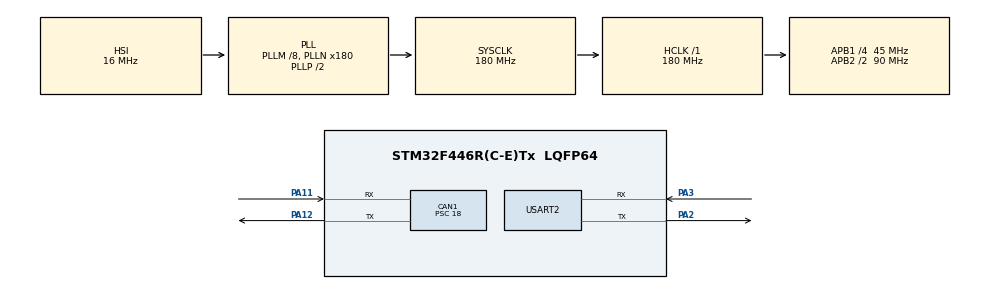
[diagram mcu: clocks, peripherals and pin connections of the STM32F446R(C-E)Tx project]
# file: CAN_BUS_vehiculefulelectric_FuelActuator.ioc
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CAN1.BS1=CAN_BS1_2TQ
CAN1.BS2=CAN_BS2_2TQ
CAN1.CalculateBaudRate=500000
CAN1.CalculateTimeBit=2000
CAN1.CalculateTimeQuantum=400.0
CAN1.Prescaler=18
Mcu.Family=STM32F4
Mcu.Name=STM32F446R(C-E)Tx
Mcu.Package=LQFP64
NVIC.PriorityGroup=NVIC_PRIORITYGROUP_0
PA11.Mode=CAN_Activate
PA11.Signal=CAN1_RX
PA12.Mode=CAN_Activate
PA12.Signal=CAN1_TX
PA13.Mode=Serial_Wire
PA13.Signal=SYS_JTMS-SWDIO
PA14.Mode=Serial_Wire
PA14.Signal=SYS_JTCK-SWCLK
PA2.Mode=Asynchronous
PA2.Signal=USART2_TX
PA3.Mode=Asynchronous
PA3.Signal=USART2_RX
PH0-OSC_IN.Mode=HSE-External-Oscillator
PH0-OSC_IN.Signal=RCC_OSC_IN
PH1-OSC_OUT.Mode=HSE-External-Oscillator
PH1-OSC_OUT.Signal=RCC_OSC_OUT
ProjectManager.HeapSize=0x200
ProjectManager.StackSize=0x400
ProjectManager.TargetToolchain=STM32CubeIDE
RCC.48MHZClocksFreq_Value=84000000
RCC.AHBFreq_Value=180000000
RCC.APB1CLKDivider=RCC_HCLK_DIV4
RCC.APB1Freq_Value=45000000
RCC.APB1TimFreq_Value=90000000
RCC.APB2CLKDivider=RCC_HCLK_DIV2
RCC.APB2Freq_Value=90000000
RCC.APB2TimFreq_Value=180000000
RCC.CortexFreq_Value=180000000
RCC.FLatency-AdvancedSettings=FLASH_LATENCY_5
RCC.HCLKFreq_Value=180000000
RCC.HSE_VALUE=8000000
RCC.HSI_VALUE=16000000
RCC.PLLM=8
RCC.PLLN=180
RCC.SYSCLKFreq_VALUE=180000000
RCC.SYSCLKSource=RCC_SYSCLKSOURCE_PLLCLK
RCC.USBFreq_Value=180000000
RCC.VCOOutputFreq_Value=360000000
USART2.VirtualMode=VM_ASYNC
board=NUCLEO-F446RE

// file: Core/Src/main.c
/* USER CODE BEGIN Header */
/**
  ******************************************************************************
  * @file           : main.c
  * @brief          : Main program body
  ******************************************************************************
  * @attention
  *
  * Copyright (c) 2025 STMicroelectronics.
  * All rights reserved.
  *
  * This software is licensed under terms that can be found in the LICENSE file
  * in the root directory of this software component.
  * If no LICENSE file comes with this software, it is provided AS-IS.
  *
  ******************************************************************************
  */
/* USER CODE END Header */
#include "main.h"
#include <stdio.h>

/* USER CODE BEGIN Includes */

#include "vehiculefulelectric.h"
#include "agrisensorcan.h"
#include "test_FuelActuator_EncodeSignals.h"

#include "session_control.h"
#include "ecu_reset.h"

/* USER CODE END Includes */

CAN_HandleTypeDef hcan1;

UART_HandleTypeDef huart2;

uint8_t soilMoisture = 55;
uint8_t fuelLevel = 70;
float decodedLat = 52.5150;
float decodedLon = 13.4060;
uint8_t diagFlags;

void SystemClock_Config(void);
static void MX_GPIO_Init(void);
static void MX_USART2_UART_Init(void);
static void MX_CAN1_Init(void);
/* USER CODE BEGIN PFP */
/*extern void test_FuelActuator_EncodeSignals(FuelActuatorMessage* msg, const FuelActuatorData* data);*/

/* USER CODE END PFP */

int main(void)
{

  /* MCU Configuration--------------------------------------------------------*/

  /* Reset of all peripherals, Initializes the Flash interface and the Systick. */
  HAL_Init();

  /* Configure the system clock */
  SystemClock_Config();

  /* Initialize all configured peripherals */
  MX_GPIO_Init();
  MX_USART2_UART_Init();
  MX_CAN1_Init();
  /* USER CODE BEGIN 2 */

  HAL_CAN_Start(&hcan1);
  HAL_CAN_ActivateNotification(&hcan1, CAN_IT_RX_FIFO0_MSG_PENDING);

  FuelActuator_CAN_Init(&hcan1);

  float latitude = 52.515;
  DiagnosticTelemetry diag = {0};

  // Here’s the usage example:
  FuelActuatorData actuatorData = {
      .vehicleSpeed = 120,
      .timestampLSB = 0x7F,
      .speedQuality = QUALITY_MEASURED,
      .engineRPM = 3000,
      .oilTemp = 85,
      .engineLoad = 75
  };
  FuelActuatorMessage msg = { .id = 0x321 };

  FuelActuator_EncodeSignals(&msg, &actuatorData);

  /*Update the value*/
  diag.latScaled = ScaleGPS(latitude);
  diag.economy = FuelEfficiencyLookup(msg.data[2]);  // if using msg index as reference

  /*Encoding the CAN message */
  AgriCAN_EncodeStatusFlags(&diagFlags);

  /*Send the message via CAN1*/
  FuelActuator_SendCommand(&hcan1, &msg);

  /* USER CODE END 2 */

  /* Infinite loop */
  while (1)
  {

    /* USER CODE BEGIN 3 */
      PrintTelemetryStatus(soilMoisture, fuelLevel, decodedLat, decodedLon,
	                       diagFlags, diag);
      /*test_FuelActuator_EncodeSignals(&msg, &actuatorData);*/

  }
  /* USER CODE END 3 */
}

void SystemClock_Config(void)
{
  RCC_OscInitTypeDef RCC_OscInitStruct = {0};
  RCC_ClkInitTypeDef RCC_ClkInitStruct = {0};

  /** Configure the main internal regulator output voltage
  */
  __HAL_RCC_PWR_CLK_ENABLE();
  __HAL_PWR_VOLTAGESCALING_CONFIG(PWR_REGULATOR_VOLTAGE_SCALE1);

  /** Initializes the RCC Oscillators according to the specified parameters
  * in the RCC_OscInitTypeDef structure.
  */
  RCC_OscInitStruct.OscillatorType = RCC_OSCILLATORTYPE_HSI;
  RCC_OscInitStruct.HSIState = RCC_HSI_ON;
  RCC_OscInitStruct.HSICalibrationValue = RCC_HSICALIBRATION_DEFAULT;
  RCC_OscInitStruct.PLL.PLLState = RCC_PLL_ON;
  RCC_OscInitStruct.PLL.PLLSource = RCC_PLLSOURCE_HSI;
  RCC_OscInitStruct.PLL.PLLM = 8;
  RCC_OscInitStruct.PLL.PLLN = 180;
  RCC_OscInitStruct.PLL.PLLP = RCC_PLLP_DIV2;
  RCC_OscInitStruct.PLL.PLLQ = 2;
  RCC_OscInitStruct.PLL.PLLR = 2;
  if (HAL_RCC_OscConfig(&RCC_OscInitStruct) != HAL_OK)
  {
    Error_Handler();
  }

  /** Activate the Over-Drive mode
  */
  if (HAL_PWREx_EnableOverDrive() != HAL_OK)
  {
    Error_Handler();
  }

  /** Initializes the CPU, AHB and APB buses clocks
  */
  RCC_ClkInitStruct.ClockType = RCC_CLOCKTYPE_HCLK|RCC_CLOCKTYPE_SYSCLK
                              |RCC_CLOCKTYPE_PCLK1|RCC_CLOCKTYPE_PCLK2;
  RCC_ClkInitStruct.SYSCLKSource = RCC_SYSCLKSOURCE_PLLCLK;
  RCC_ClkInitStruct.AHBCLKDivider = RCC_SYSCLK_DIV1;
  RCC_ClkInitStruct.APB1CLKDivider = RCC_HCLK_DIV4;
  RCC_ClkInitStruct.APB2CLKDivider = RCC_HCLK_DIV2;

  if (HAL_RCC_ClockConfig(&RCC_ClkInitStruct, FLASH_LATENCY_5) != HAL_OK)
  {
    Error_Handler();
  }
}

static void MX_CAN1_Init(void)
{

  hcan1.Instance = CAN1;
  hcan1.Init.Prescaler = 18;
  hcan1.Init.Mode = CAN_MODE_NORMAL;
  hcan1.Init.SyncJumpWidth = CAN_SJW_1TQ;
  hcan1.Init.TimeSeg1 = CAN_BS1_2TQ;
  hcan1.Init.TimeSeg2 = CAN_BS2_2TQ;
  hcan1.Init.TimeTriggeredMode = DISABLE;
  hcan1.Init.AutoBusOff = DISABLE;
  hcan1.Init.AutoWakeUp = DISABLE;
  hcan1.Init.AutoRetransmission = DISABLE;
  hcan1.Init.ReceiveFifoLocked = DISABLE;
  hcan1.Init.TransmitFifoPriority = DISABLE;
  if (HAL_CAN_Init(&hcan1) != HAL_OK)
  {
    Error_Handler();
  }
  /* USER CODE BEGIN CAN1_Init 2 */

  CAN_FilterTypeDef canfilterconfig;

  canfilterconfig.FilterActivation = CAN_FILTER_ENABLE;
  canfilterconfig.FilterBank = 18;
  canfilterconfig.FilterFIFOAssignment = CAN_RX_FIFO0;
  canfilterconfig.FilterIdHigh = 0x0000;//0x103<<5;
  canfilterconfig.FilterIdLow = 0;
  canfilterconfig.FilterMaskIdHigh = 0x0000;// 0x103<<5;
  canfilterconfig.FilterMaskIdLow =0x0000;
  canfilterconfig.FilterMode = CAN_FILTERMODE_IDMASK;
  canfilterconfig.FilterScale = CAN_FILTERSCALE_32BIT;
  canfilterconfig.SlaveStartFilterBank=40;// how many filters to assign to the CAN1 (master can)

  HAL_CAN_ConfigFilter(&hcan1, &canfilterconfig);
  /* USER CODE END CAN1_Init 2 */

}

static void MX_USART2_UART_Init(void)
{

  huart2.Instance = USART2;
  huart2.Init.BaudRate = 115200;
  huart2.Init.WordLength = UART_WORDLENGTH_8B;
  huart2.Init.StopBits = UART_STOPBITS_1;
  huart2.Init.Parity = UART_PARITY_NONE;
  huart2.Init.Mode = UART_MODE_TX_RX;
  huart2.Init.HwFlowCtl = UART_HWCONTROL_NONE;
  huart2.Init.OverSampling = UART_OVERSAMPLING_16;
  if (HAL_UART_Init(&huart2) != HAL_OK)
  {
    Error_Handler();
  }

}

static void MX_GPIO_Init(void)
{

  /* GPIO Ports Clock Enable */
  __HAL_RCC_GPIOH_CLK_ENABLE();
  __HAL_RCC_GPIOA_CLK_ENABLE();

}

/* USER CODE BEGIN 4 */

void PrintTelemetryStatus(uint8_t soilMoisture, uint8_t fuelLevel,
        float decodedLat, float decodedLon,
        uint8_t diagFlags, DiagnosticTelemetry diag) {
  printf("Soil Moisture: %d %%\r\n", soilMoisture);
  printf("Fuel Level: %d %%\r\n", fuelLevel);
  printf("GPS Position: %.4f°, %.4f°\r\n", decodedLat, decodedLon);
  printf("Sensor Status: 0x%02X\r\n", diagFlags);
  printf("Fuel Economy Index: %.2f\r\n", diag.economy);
  printf("Latitude Scaled: %u\r\n", diag.latScaled);
}

void HAL_CAN_RxFifo0MsgPendingCallback(CAN_HandleTypeDef *hcan) {
    CAN_RxHeaderTypeDef rxHeader;
    uint8_t rxData[8];
    uint8_t txData[8] = {0}; // Response buffer

    HAL_CAN_GetRxMessage(hcan, CAN_RX_FIFO0, &rxHeader, rxData);

    // Dispatch based on UDS service ID
    switch (rxData[0]) {
        case 0x10:
            HandleSessionControl(rxData, txData);
            break;
        case 0x11:
            HandleECUReset(rxData, txData);
            break;
        // Add other UDS services here
    }

    // Send response
    CAN_TxHeaderTypeDef txHeader = {
        .StdId = 0x7E8, // ECU response ID
        .IDE = CAN_ID_STD,
        .RTR = CAN_RTR_DATA,
        .DLC = 8
    };
    uint32_t txMailbox;
    HAL_CAN_AddTxMessage(hcan, &txHeader, txData, &txMailbox);
}

/* USER CODE END 4 */

void Error_Handler(void)
{
  __disable_irq();
  while (1)
  {
  }
}
